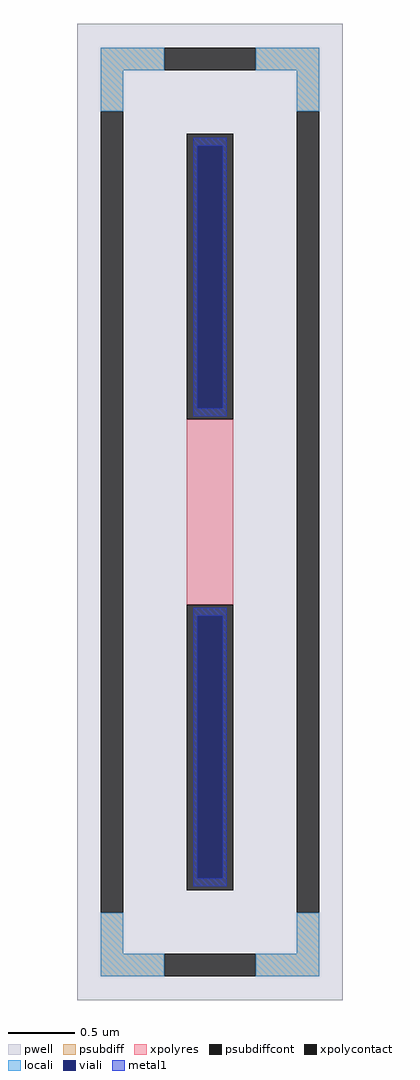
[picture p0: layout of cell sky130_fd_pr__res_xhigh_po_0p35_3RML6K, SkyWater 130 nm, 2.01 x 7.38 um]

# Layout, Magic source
magic
tech sky130B
magscale 1 2
<< pwell >>
rect -201 -738 201 738
<< psubdiff >>
rect -165 668 -69 702
rect 69 668 165 702
rect -165 606 -131 668
rect 131 606 165 668
rect -165 -668 -131 -606
rect 131 -668 165 -606
rect -165 -702 -69 -668
rect 69 -702 165 -668
<< psubdiffcont >>
rect -69 668 69 702
rect -165 -606 -131 606
rect 131 -606 165 606
rect -69 -702 69 -668
<< xpolycontact >>
rect -35 140 35 572
rect -35 -572 35 -140
<< xpolyres >>
rect -35 -140 35 140
<< locali >>
rect -165 668 -69 702
rect 69 668 165 702
rect -165 606 -131 668
rect 131 606 165 668
rect -165 -668 -131 -606
rect 131 -668 165 -606
rect -165 -702 -69 -668
rect 69 -702 165 -668
<< viali >>
rect -19 157 19 554
rect -19 -554 19 -157
<< metal1 >>
rect -25 554 25 566
rect -25 157 -19 554
rect 19 157 25 554
rect -25 145 25 157
rect -25 -157 25 -145
rect -25 -554 -19 -157
rect 19 -554 25 -157
rect -25 -566 25 -554
<< properties >>
string FIXED_BBOX -148 -685 148 685
string gencell sky130_fd_pr__res_xhigh_po_0p35
string library sky130
string parameters w 0.350 l 1.562 m 1 nx 1 wmin 0.350 lmin 0.50 class resistor rho 2000 val 10.001k dummy 0 dw 0.0 term 188.2 sterm 0.0 caplen 0 wmax 0.350 guard 1 glc 1 grc 1 gtc 1 gbc 1 compatible {sky130_fd_pr__res_xhigh_po_0p35  sky130_fd_pr__res_xhigh_po_0p69 sky130_fd_pr__res_xhigh_po_1p41  sky130_fd_pr__res_xhigh_po_2p85 sky130_fd_pr__res_xhigh_po_5p73} snake 0 full_metal 1 n_guard 0 hv_guard 0 vias 1 viagb 0 viagt 0 viagl 0 viagr 0
<< end >>
